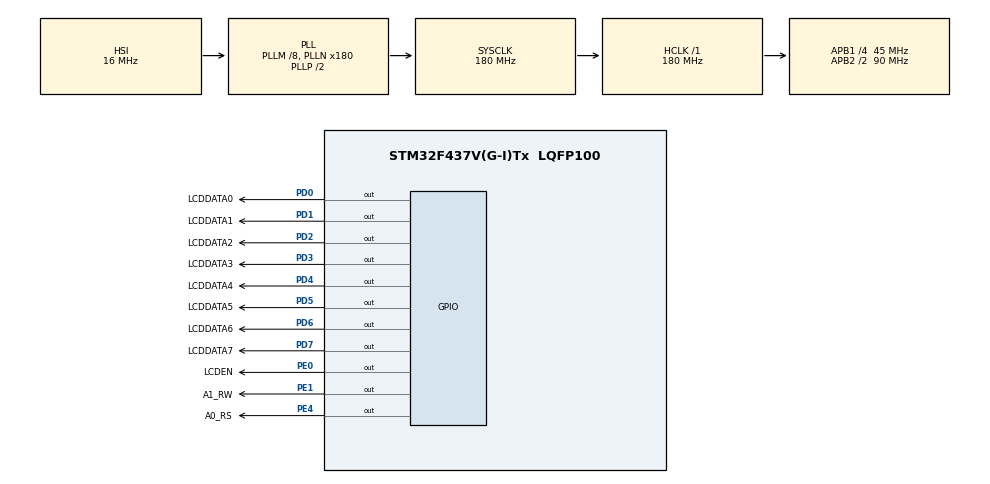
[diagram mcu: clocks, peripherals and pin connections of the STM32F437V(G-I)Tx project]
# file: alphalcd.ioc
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Mcu.Family=STM32F4
Mcu.Name=STM32F437V(G-I)Tx
Mcu.Package=LQFP100
NVIC.PriorityGroup=NVIC_PRIORITYGROUP_4
PA13.Mode=Serial_Wire
PA13.Signal=SYS_JTMS-SWDIO
PA14.Mode=Serial_Wire
PA14.Signal=SYS_JTCK-SWCLK
PD0.GPIO_Label=LCDDATA0
PD0.Signal=GPIO_Output
PD1.GPIO_Label=LCDDATA1
PD1.Signal=GPIO_Output
PD2.GPIO_Label=LCDDATA2
PD2.Signal=GPIO_Output
PD3.GPIO_Label=LCDDATA3
PD3.Signal=GPIO_Output
PD4.GPIO_Label=LCDDATA4
PD4.Signal=GPIO_Output
PD5.GPIO_Label=LCDDATA5
PD5.Signal=GPIO_Output
PD6.GPIO_Label=LCDDATA6
PD6.Signal=GPIO_Output
PD7.GPIO_Label=LCDDATA7
PD7.Signal=GPIO_Output
PE0.GPIO_Label=LCDEN
PE0.Signal=GPIO_Output
PE1.GPIO_Label=A1_RW
PE1.Signal=GPIO_Output
PE4.GPIO_Label=A0_RS
PE4.Signal=GPIO_Output
PH0/OSC_IN.Mode=HSE-External-Oscillator
PH0/OSC_IN.Signal=RCC_OSC_IN
PH1/OSC_OUT.Mode=HSE-External-Oscillator
PH1/OSC_OUT.Signal=RCC_OSC_OUT
ProjectManager.HeapSize=0x200
ProjectManager.StackSize=0x400
ProjectManager.TargetToolchain=TrueSTUDIO
RCC.48MHZClocksFreq_Value=90000000
RCC.AHBFreq_Value=180000000
RCC.APB1CLKDivider=RCC_HCLK_DIV4
RCC.APB1Freq_Value=45000000
RCC.APB1TimFreq_Value=90000000
RCC.APB2CLKDivider=RCC_HCLK_DIV2
RCC.APB2Freq_Value=90000000
RCC.APB2TimFreq_Value=180000000
RCC.CortexFreq_Value=180000000
RCC.HCLKFreq_Value=180000000
RCC.HSE_VALUE=25000000
RCC.HSI_VALUE=16000000
RCC.LSE_VALUE=32768
RCC.PLLM=8
RCC.PLLN=180
RCC.SYSCLKFreq_VALUE=180000000
RCC.SYSCLKSource=RCC_SYSCLKSOURCE_PLLCLK
RCC.VCOOutputFreq_Value=360000000
TIM2.Period=999
TIM2.Prescaler=17
VP_TIM2_VS_ClockSourceINT.Mode=Internal
board=custom

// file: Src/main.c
/* USER CODE BEGIN Header */
/**
  ******************************************************************************
  * @file           : main.c
  * @brief          : Main program body
  ******************************************************************************
  * @attention
  *
  * Copyright (c) 2023 STMicroelectronics.
  * All rights reserved.
  *
  * This software is licensed under terms that can be found in the LICENSE file
  * in the root directory of this software component.
  * If no LICENSE file comes with this software, it is provided AS-IS.
  *
  ******************************************************************************
  */
/* USER CODE END Header */
#include "main.h"

/* USER CODE BEGIN PD */
#define RS_PORT GPIOE
#define RS_PIN GPIO_PIN_4
#define RW_PORT GPIOE
#define RW_PIN GPIO_PIN_1
#define EN_PORT GPIOE
#define EN_PIN GPIO_PIN_0
#define D0_PORT GPIOD
#define D0_PIN GPIO_PIN_0
#define D1_PORT GPIOD
#define D1_PIN GPIO_PIN_1
#define D2_PORT GPIOD
#define D2_PIN GPIO_PIN_2
#define D3_PORT GPIOD
#define D3_PIN GPIO_PIN_3
#define D4_PORT GPIOD
#define D4_PIN GPIO_PIN_4
#define D5_PORT GPIOD
#define D5_PIN GPIO_PIN_5
#define D6_PORT GPIOD
#define D6_PIN GPIO_PIN_6
#define D7_PORT GPIOD
#define D7_PIN GPIO_PIN_7
/* USER CODE END PD */

 TIM_HandleTypeDef htim2;

/* USER CODE BEGIN PV */
unsigned char val, data[8];
/* USER CODE END PV */

void SystemClock_Config(void);
static void MX_GPIO_Init(void);
static void MX_TIM2_Init(void);

/* USER CODE BEGIN 0 */
void LCD_send(unsigned char reg, unsigned char cmd_dat)
{
	HAL_GPIO_WritePin(RW_PORT, RW_PIN, GPIO_PIN_RESET); //write
	HAL_Delay(1);

	HAL_GPIO_WritePin(RS_PORT, RS_PIN, reg); //command register
	HAL_Delay(1);

	//Send command/data
	data[0] = cmd_dat & 0x01;
	HAL_GPIO_WritePin(D0_PORT, D0_PIN, data[0]);
	data[1] = (cmd_dat>>1) & 0x01;
	HAL_GPIO_WritePin(D1_PORT, D1_PIN, data[1]);
	data[2] = (cmd_dat>>2) & 0x01;
	HAL_GPIO_WritePin(D2_PORT, D2_PIN, data[2]);
	data[3] = (cmd_dat>>3) & 0x01;
	HAL_GPIO_WritePin(D3_PORT, D3_PIN, data[3]);
	data[4] = (cmd_dat>>4) & 0x01;
	HAL_GPIO_WritePin(D4_PORT, D4_PIN, data[4]);
	data[5] = (cmd_dat>>5) & 0x01;
	HAL_GPIO_WritePin(D5_PORT, D5_PIN, data[5]);
	data[6] = (cmd_dat>>6) & 0x01;
	HAL_GPIO_WritePin(D6_PORT, D6_PIN, data[6]);
	data[7] = (cmd_dat>>7) & 0x01;
	HAL_GPIO_WritePin(D7_PORT, D7_PIN, data[7]);

	HAL_GPIO_WritePin(EN_PORT, EN_PIN, GPIO_PIN_SET);
	HAL_Delay(5);
	HAL_GPIO_WritePin(EN_PORT, EN_PIN, GPIO_PIN_RESET);
	HAL_Delay(5);
}
void LCD_init(void)
{
	LCD_send(0, 0x38); //2 line, 5x7 matrix
	LCD_send(0, 0x0C);
	LCD_send(0, 0x06);
	LCD_send(0, 0x01); //clear display
}
/* USER CODE END 0 */

int main(void)
{

  /* MCU Configuration--------------------------------------------------------*/

  /* Reset of all peripherals, Initializes the Flash interface and the Systick. */
  HAL_Init();

  /* Configure the system clock */
  SystemClock_Config();

  /* Initialize all configured peripherals */
  MX_GPIO_Init();
  MX_TIM2_Init();
  /* USER CODE BEGIN 2 */
  LCD_init();
  /* USER CODE END 2 */

  /* Infinite loop */
  while (1)
  {
	  unsigned char input[20] = {2,5,9,1,3,8,3,1,7,8,0,8,5,4,3,2,1,4,6,8};
	  LCD_send(0, 0x80); //force cursor to beginning of first line
	  for (val = 0; val <10; val ++)
	  {
		  LCD_send(1,(input[val]+48));
		  HAL_Delay(10);
	  }
	  LCD_send(0, 0xC0); //force cursor to beginning of second line
	  for (val = 10; val <20; val ++)
	  {
		  LCD_send(1,(input[val]+48));
		  HAL_Delay(10);
	  }
  }
}

void SystemClock_Config(void)
{
  RCC_OscInitTypeDef RCC_OscInitStruct = {0};
  RCC_ClkInitTypeDef RCC_ClkInitStruct = {0};

  /** Configure the main internal regulator output voltage
  */
  __HAL_RCC_PWR_CLK_ENABLE();
  __HAL_PWR_VOLTAGESCALING_CONFIG(PWR_REGULATOR_VOLTAGE_SCALE1);

  /** Initializes the RCC Oscillators according to the specified parameters
  * in the RCC_OscInitTypeDef structure.
  */
  RCC_OscInitStruct.OscillatorType = RCC_OSCILLATORTYPE_HSI;
  RCC_OscInitStruct.HSIState = RCC_HSI_ON;
  RCC_OscInitStruct.HSICalibrationValue = RCC_HSICALIBRATION_DEFAULT;
  RCC_OscInitStruct.PLL.PLLState = RCC_PLL_ON;
  RCC_OscInitStruct.PLL.PLLSource = RCC_PLLSOURCE_HSI;
  RCC_OscInitStruct.PLL.PLLM = 8;
  RCC_OscInitStruct.PLL.PLLN = 180;
  RCC_OscInitStruct.PLL.PLLP = RCC_PLLP_DIV2;
  RCC_OscInitStruct.PLL.PLLQ = 4;
  if (HAL_RCC_OscConfig(&RCC_OscInitStruct) != HAL_OK)
  {
    Error_Handler();
  }

  /** Activate the Over-Drive mode
  */
  if (HAL_PWREx_EnableOverDrive() != HAL_OK)
  {
    Error_Handler();
  }

  /** Initializes the CPU, AHB and APB buses clocks
  */
  RCC_ClkInitStruct.ClockType = RCC_CLOCKTYPE_HCLK|RCC_CLOCKTYPE_SYSCLK
                              |RCC_CLOCKTYPE_PCLK1|RCC_CLOCKTYPE_PCLK2;
  RCC_ClkInitStruct.SYSCLKSource = RCC_SYSCLKSOURCE_PLLCLK;
  RCC_ClkInitStruct.AHBCLKDivider = RCC_SYSCLK_DIV1;
  RCC_ClkInitStruct.APB1CLKDivider = RCC_HCLK_DIV4;
  RCC_ClkInitStruct.APB2CLKDivider = RCC_HCLK_DIV2;

  if (HAL_RCC_ClockConfig(&RCC_ClkInitStruct, FLASH_LATENCY_5) != HAL_OK)
  {
    Error_Handler();
  }
}

static void MX_TIM2_Init(void)
{

  TIM_ClockConfigTypeDef sClockSourceConfig = {0};
  TIM_MasterConfigTypeDef sMasterConfig = {0};

  htim2.Instance = TIM2;
  htim2.Init.Prescaler = 17;
  htim2.Init.CounterMode = TIM_COUNTERMODE_UP;
  htim2.Init.Period = 999;
  htim2.Init.ClockDivision = TIM_CLOCKDIVISION_DIV1;
  htim2.Init.AutoReloadPreload = TIM_AUTORELOAD_PRELOAD_DISABLE;
  if (HAL_TIM_Base_Init(&htim2) != HAL_OK)
  {
    Error_Handler();
  }
  sClockSourceConfig.ClockSource = TIM_CLOCKSOURCE_INTERNAL;
  if (HAL_TIM_ConfigClockSource(&htim2, &sClockSourceConfig) != HAL_OK)
  {
    Error_Handler();
  }
  sMasterConfig.MasterOutputTrigger = TIM_TRGO_RESET;
  sMasterConfig.MasterSlaveMode = TIM_MASTERSLAVEMODE_DISABLE;
  if (HAL_TIMEx_MasterConfigSynchronization(&htim2, &sMasterConfig) != HAL_OK)
  {
    Error_Handler();
  }

}

static void MX_GPIO_Init(void)
{
  GPIO_InitTypeDef GPIO_InitStruct = {0};

  /* GPIO Ports Clock Enable */
  __HAL_RCC_GPIOE_CLK_ENABLE();
  __HAL_RCC_GPIOH_CLK_ENABLE();
  __HAL_RCC_GPIOA_CLK_ENABLE();
  __HAL_RCC_GPIOD_CLK_ENABLE();

  /*Configure GPIO pin Output Level */
  HAL_GPIO_WritePin(GPIOE, GPIO_PIN_4|GPIO_PIN_0|GPIO_PIN_1, GPIO_PIN_RESET);

  /*Configure GPIO pin Output Level */
  HAL_GPIO_WritePin(GPIOD, GPIO_PIN_0|GPIO_PIN_1|GPIO_PIN_2|GPIO_PIN_3
                          |GPIO_PIN_4|GPIO_PIN_5|GPIO_PIN_6|GPIO_PIN_7, GPIO_PIN_RESET);

  /*Configure GPIO pins : PE4 PE0 PE1 */
  GPIO_InitStruct.Pin = GPIO_PIN_4|GPIO_PIN_0|GPIO_PIN_1;
  GPIO_InitStruct.Mode = GPIO_MODE_OUTPUT_PP;
  GPIO_InitStruct.Pull = GPIO_NOPULL;
  GPIO_InitStruct.Speed = GPIO_SPEED_FREQ_LOW;
  HAL_GPIO_Init(GPIOE, &GPIO_InitStruct);

  /*Configure GPIO pins : PD0 PD1 PD2 PD3
                           PD4 PD5 PD6 PD7 */
  GPIO_InitStruct.Pin = GPIO_PIN_0|GPIO_PIN_1|GPIO_PIN_2|GPIO_PIN_3
                          |GPIO_PIN_4|GPIO_PIN_5|GPIO_PIN_6|GPIO_PIN_7;
  GPIO_InitStruct.Mode = GPIO_MODE_OUTPUT_PP;
  GPIO_InitStruct.Pull = GPIO_NOPULL;
  GPIO_InitStruct.Speed = GPIO_SPEED_FREQ_LOW;
  HAL_GPIO_Init(GPIOD, &GPIO_InitStruct);

}

void Error_Handler(void)
{
  __disable_irq();
  while (1)
  {
  }
}
